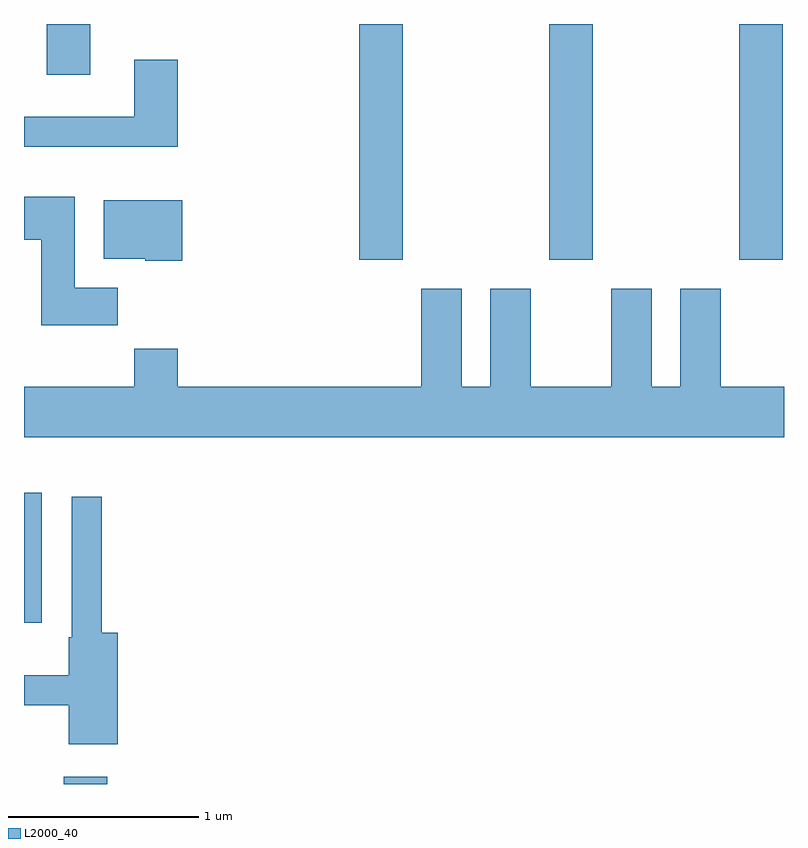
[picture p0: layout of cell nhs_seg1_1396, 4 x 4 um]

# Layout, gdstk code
import gdstk
lib = gdstk.Library(unit=1e-6, precision=1e-09)
def R(c, l, rs):  # rectangles x0, y0, x1, y1
    for r in rs: c.add(gdstk.rectangle(r[:2], r[2:], *l))
def A(c, l, x, y, w, h, nx, ny, dx, dy):  # array of equal rectangles
    R(c, l, [(x+i*dx, y+j*dy, x+i*dx+w, y+j*dy+h) for i in range(nx) for j in range(ny)])
def P(c, l, *ps):  # polygons
    for p in ps: c.add(gdstk.Polygon(p, *l))
L2000_40 = (2000, 40)

nhs_seg1_1396 = lib.new_cell('nhs_seg1_1396')
A(nhs_seg1_1396, L2000_40, 229.376, 940.471, 0.228, 1.241, 3, 1, 1, 0)
R(nhs_seg1_1396, L2000_40, [(227.821,937.712,228.049,937.749), (227.611,938.561,227.704,939.244), (227.731,941.446,227.959,941.712)])
P(nhs_seg1_1396, L2000_40, [(228.419,941.524),(228.191,941.524),(228.191,941.224),(227.611,941.224),(227.611,941.066),(228.419,941.066)],
  [(228.104,940.324),(227.879,940.324),(227.879,940.804),(227.611,940.804),(227.611,940.576),(227.701,940.576),(227.701,940.126),(228.104,940.126)],
  [(228.444,940.784),(228.031,940.784),(228.031,940.476),(228.25,940.476),(228.25,940.466),(228.444,940.466)],
  [(231.611,939.804),(231.279,939.804),(231.279,940.319),(231.066,940.319),(231.066,939.804),(230.914,939.804),(230.914,940.319),(230.701,940.319),(230.701,939.804),(230.279,939.804),(230.279,940.319),(230.066,940.319),(230.066,939.804),(229.914,939.804),(229.914,940.319),(229.701,940.319),(229.701,939.804),(228.419,939.804),(228.419,940.004),(228.191,940.004),(228.191,939.804),(227.611,939.804),(227.611,939.536),(231.611,939.536)],
  [(228.104,938.509),(228.019,938.509),(228.019,939.223),(227.861,939.223),(227.861,938.485),(227.846,938.485),(227.846,938.284),(227.611,938.284),(227.611,938.126),(227.846,938.126),(227.846,937.921),(228.104,937.921)])

lib.write_gds('nhs_seg1_1396.gds')
